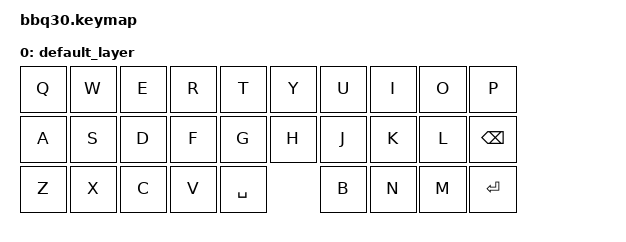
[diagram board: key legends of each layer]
/*
 * Copyright (c) 2023 ZitaoTech
 *
 * SPDX-License-Identifier: MIT
 */
   
#include <behaviors.dtsi>
#include <dt-bindings/zmk/keys.h>
#include <dt-bindings/zmk/bt.h>
#include <dt-bindings/zmk/outputs.h>
#include <dt-bindings/zmk/mouse.h>
#include <dt-bindings/zmk/backlight.h>
#include <dt-bindings/zmk/ext_power.h>




/ {
    behaviors {
        td0: tap_dance_0 {
            compatible = "zmk,behavior-tap-dance";
            #binding-cells = <0>;
            tapping-term-ms = <400>;
            bindings = <&mkp LCLK>, <&bt BT_CLR>;
        };
    };
    behaviors {
        hm: homerow_mods {
            compatible = "zmk,behavior-hold-tap";
            #binding-cells = <2>;
            tapping-term-ms = <500>;
            bindings = <&out &kp>;
        };
    };

    keymap {
        compatible = "zmk,keymap";

        default_layer {

            bindings = <
//         --------------------------------------------------------------------------------------------------------------------------         
//         |    Shoulder Key1    |                                                                             |    Shoulder Key2    |     
// |         Call key      |      Blackberry Key        |    Trackpad    |             Back Key                |             Endcall Key          |
// |     Q      |     W    |     E    |     R    |      T      |       Y        |       U        |        I        |       O      |      P        |     
// |     A      |     S    |     D    |     F    |      G      |       H        |       J        |        K        |       L      |      ←        |  
// |     alt    |     Z    |     X    |     C    |      V      |       B        |       N        |        M        |       $      |    Enter      |   
//        |         aA     |         0           |           SPACE              |         SYM         |        aA          |       
//        -----------------------------------------------------------------------------------------------------------------


    &kp Q        &kp W      &kp E       &kp R     &kp T         &kp Y             &kp U            &kp I            &kp O            &kp P
    &kp A        &kp S      &kp D       &kp F     &kp G         &kp H             &kp J            &kp K            &kp L            &kp BSPC
    &kp Z        &kp X      &kp C       &kp V          &kp SPACE                  &kp B            &kp N            &kp M            &kp ENTER
            >;
        };

    };
};
